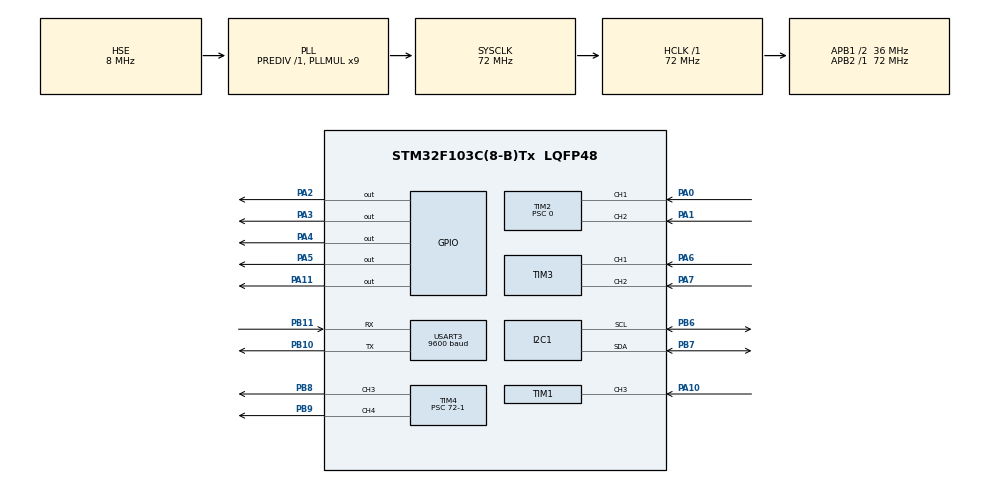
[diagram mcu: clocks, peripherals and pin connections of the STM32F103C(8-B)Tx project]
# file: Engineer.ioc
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Dma.Request0=USART3_RX
Dma.USART3_RX.0.Direction=DMA_PERIPH_TO_MEMORY
Dma.USART3_RX.0.Instance=DMA1_Channel3
Dma.USART3_RX.0.MemDataAlignment=DMA_MDATAALIGN_BYTE
Dma.USART3_RX.0.MemInc=DMA_MINC_ENABLE
Dma.USART3_RX.0.Mode=DMA_NORMAL
Dma.USART3_RX.0.PeriphDataAlignment=DMA_PDATAALIGN_BYTE
Dma.USART3_RX.0.PeriphInc=DMA_PINC_DISABLE
Dma.USART3_RX.0.Priority=DMA_PRIORITY_LOW
Mcu.Family=STM32F1
Mcu.Name=STM32F103C(8-B)Tx
Mcu.Package=LQFP48
NVIC.DMA1_Channel3_IRQn=true\:0\:0\:false\:false\:true\:false\:true\:true
NVIC.I2C1_ER_IRQn=true\:0\:0\:false\:false\:true\:true\:true\:true
NVIC.I2C1_EV_IRQn=true\:0\:0\:false\:false\:true\:true\:true\:true
NVIC.PriorityGroup=NVIC_PRIORITYGROUP_4
NVIC.TIM1_BRK_IRQn=true\:0\:0\:false\:false\:true\:true\:true\:true
NVIC.TIM1_CC_IRQn=true\:0\:0\:false\:false\:true\:true\:true\:true
NVIC.TIM1_TRG_COM_IRQn=true\:0\:0\:false\:false\:true\:true\:true\:true
NVIC.TIM1_UP_IRQn=true\:0\:0\:false\:false\:true\:true\:true\:true
NVIC.TIM2_IRQn=true\:0\:0\:false\:false\:true\:true\:true\:true
NVIC.TIM4_IRQn=true\:0\:0\:false\:false\:true\:true\:true\:true
NVIC.USART3_IRQn=true\:0\:0\:false\:false\:true\:true\:true\:true
PA0-WKUP.Signal=S_TIM2_CH1_ETR
PA1.Signal=S_TIM2_CH2
PA10.Signal=S_TIM1_CH3
PA11.Signal=GPIO_Output
PA13.Mode=Serial_Wire
PA13.Signal=SYS_JTMS-SWDIO
PA14.Mode=Serial_Wire
PA14.Signal=SYS_JTCK-SWCLK
PA2.Signal=GPIO_Output
PA3.Signal=GPIO_Output
PA4.Signal=GPIO_Output
PA5.Signal=GPIO_Output
PA6.Signal=S_TIM3_CH1
PA7.Signal=S_TIM3_CH2
PB10.Mode=Asynchronous
PB10.Signal=USART3_TX
PB11.Mode=Asynchronous
PB11.Signal=USART3_RX
PB6.Mode=I2C
PB6.Signal=I2C1_SCL
PB7.Mode=I2C
PB7.Signal=I2C1_SDA
PB8.Signal=S_TIM4_CH3
PB9.Signal=S_TIM4_CH4
PC14-OSC32_IN.Mode=LSE-External-Oscillator
PC14-OSC32_IN.Signal=RCC_OSC32_IN
PC15-OSC32_OUT.Mode=LSE-External-Oscillator
PC15-OSC32_OUT.Signal=RCC_OSC32_OUT
PD0-OSC_IN.Mode=HSE-External-Oscillator
PD0-OSC_IN.Signal=RCC_OSC_IN
PD1-OSC_OUT.Mode=HSE-External-Oscillator
PD1-OSC_OUT.Signal=RCC_OSC_OUT
ProjectManager.HeapSize=0x200
ProjectManager.StackSize=0x400
ProjectManager.TargetToolchain=MDK-ARM V5.32
RCC.AHBFreq_Value=72000000
RCC.APB1CLKDivider=RCC_HCLK_DIV2
RCC.APB1Freq_Value=36000000
RCC.APB1TimFreq_Value=72000000
RCC.APB2Freq_Value=72000000
RCC.APB2TimFreq_Value=72000000
RCC.HCLKFreq_Value=72000000
RCC.PLLMUL=RCC_PLL_MUL9
RCC.PLLSourceVirtual=RCC_PLLSOURCE_HSE
RCC.SYSCLKFreq_VALUE=72000000
RCC.SYSCLKSource=RCC_SYSCLKSOURCE_PLLCLK
RCC.USBFreq_Value=72000000
SH.S_TIM1_CH3.0=TIM1_CH3,Input_Capture3_from_TI3
SH.S_TIM2_CH1_ETR.0=TIM2_CH1,Encoder_Interface
SH.S_TIM2_CH2.0=TIM2_CH2,Encoder_Interface
SH.S_TIM3_CH1.0=TIM3_CH1,Encoder_Interface
SH.S_TIM3_CH2.0=TIM3_CH2,Encoder_Interface
SH.S_TIM4_CH3.0=TIM4_CH3,PWM Generation3 CH3
SH.S_TIM4_CH4.0=TIM4_CH4,PWM Generation4 CH4
TIM1.Channel-Input_Capture3_from_TI3=TIM_CHANNEL_3
TIM1.Period=65535
TIM1.Prescaler=72-1
TIM2.EncoderMode=TIM_ENCODERMODE_TI12
TIM2.IC1Filter=0
TIM2.IC2Filter=0
TIM2.IC2Polarity=TIM_ICPOLARITY_FALLING
TIM2.Period=65535
TIM2.Prescaler=0
TIM3.EncoderMode=TIM_ENCODERMODE_TI12
TIM3.IC2Polarity=TIM_ICPOLARITY_FALLING
TIM4.Channel-PWM\ Generation3\ CH3=TIM_CHANNEL_3
TIM4.Channel-PWM\ Generation4\ CH4=TIM_CHANNEL_4
TIM4.Period=1000-1
TIM4.Prescaler=72-1
USART3.BaudRate=9600
USART3.VirtualMode=VM_ASYNC
VP_TIM1_VS_ClockSourceINT.Mode=Internal
VP_TIM4_VS_ClockSourceINT.Mode=Internal
board=custom

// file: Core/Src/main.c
/* USER CODE BEGIN Header */
/**
  ******************************************************************************
  * @file           : main.c
  * @brief          : Main program body
  ******************************************************************************
  * @attention
  *
  * Copyright (c) 2025 STMicroelectronics.
  * All rights reserved.
  *
  * This software is licensed under terms that can be found in the LICENSE file
  * in the root directory of this software component.
  * If no LICENSE file comes with this software, it is provided AS-IS.
  *
  ******************************************************************************
  */
/* USER CODE END Header */
#include "main.h"
#include "dma.h"
#include "i2c.h"
#include "tim.h"
#include "usart.h"
#include "gpio.h"

/* USER CODE BEGIN Includes */
#include "User_Task.h"
/* USER CODE END Includes */

void SystemClock_Config(void);

/* USER CODE BEGIN 0 */
uint8_t echo_flag = 0;
uint16_t rising_cnt = 0, falling_cnt = 0;
float distance = 0.0f;

uint8_t pin11 = 0;

float Get_Distance_Main()
{
  return distance;
}

/* USER CODE END 0 */

int main(void)
{

  /* MCU Configuration--------------------------------------------------------*/

  /* Reset of all peripherals, Initializes the Flash interface and the Systick. */
  HAL_Init();

  /* Configure the system clock */
  SystemClock_Config();

  /* Initialize all configured peripherals */
  MX_GPIO_Init();
  MX_DMA_Init();
  MX_I2C1_Init();
  MX_TIM1_Init();
  MX_TIM2_Init();
  MX_TIM3_Init();
  MX_TIM4_Init();
  MX_USART3_UART_Init();
  /* USER CODE BEGIN 2 */
	Task_Init();
  /* USER CODE END 2 */

  /* Infinite loop */
  /* USER CODE BEGIN WHILE */
  while (1)
  {
		// 触发
    HAL_GPIO_WritePin(GPIOA, GPIO_PIN_11, 1);
    HAL_Delay(1);
		pin11 = HAL_GPIO_ReadPin(GPIOA, GPIO_PIN_11);
    HAL_GPIO_WritePin(GPIOA, GPIO_PIN_11, 0);
    pin11 = HAL_GPIO_ReadPin(GPIOA, GPIO_PIN_11);

    // 清零
    rising_cnt = 0;
    falling_cnt = 0;
    echo_flag = 0;
    __HAL_TIM_SET_COUNTER(&htim1, 0);

    // 开始捕获
    __HAL_TIM_SET_CAPTUREPOLARITY(&htim1, TIM_CHANNEL_3, TIM_INPUTCHANNELPOLARITY_RISING);
    HAL_TIM_IC_Start_IT(&htim1, TIM_CHANNEL_3);

    // 等待完成
    for (uint16_t i = 0; i < 150; i++)
    {
      if (rising_cnt != 0 && falling_cnt != 0)
      {
        // 计算距离
        // 定时器每1us计数1次，因此 距离=计数*0.34/2（毫米）
				distance = (falling_cnt - rising_cnt) * 0.017;
        break;
      }
      HAL_Delay(1);
    }
    // 停止捕获
    HAL_TIM_IC_Stop_IT(&htim1, TIM_CHANNEL_3);
    /* USER CODE END WHILE */

  }
}

void SystemClock_Config(void)
{
  RCC_OscInitTypeDef RCC_OscInitStruct = {0};
  RCC_ClkInitTypeDef RCC_ClkInitStruct = {0};

  /** Initializes the RCC Oscillators according to the specified parameters
  * in the RCC_OscInitTypeDef structure.
  */
  RCC_OscInitStruct.OscillatorType = RCC_OSCILLATORTYPE_HSE;
  RCC_OscInitStruct.HSEState = RCC_HSE_ON;
  RCC_OscInitStruct.HSEPredivValue = RCC_HSE_PREDIV_DIV1;
  RCC_OscInitStruct.HSIState = RCC_HSI_ON;
  RCC_OscInitStruct.PLL.PLLState = RCC_PLL_ON;
  RCC_OscInitStruct.PLL.PLLSource = RCC_PLLSOURCE_HSE;
  RCC_OscInitStruct.PLL.PLLMUL = RCC_PLL_MUL9;
  if (HAL_RCC_OscConfig(&RCC_OscInitStruct) != HAL_OK)
  {
    Error_Handler();
  }

  /** Initializes the CPU, AHB and APB buses clocks
  */
  RCC_ClkInitStruct.ClockType = RCC_CLOCKTYPE_HCLK|RCC_CLOCKTYPE_SYSCLK
                              |RCC_CLOCKTYPE_PCLK1|RCC_CLOCKTYPE_PCLK2;
  RCC_ClkInitStruct.SYSCLKSource = RCC_SYSCLKSOURCE_PLLCLK;
  RCC_ClkInitStruct.AHBCLKDivider = RCC_SYSCLK_DIV1;
  RCC_ClkInitStruct.APB1CLKDivider = RCC_HCLK_DIV2;
  RCC_ClkInitStruct.APB2CLKDivider = RCC_HCLK_DIV1;

  if (HAL_RCC_ClockConfig(&RCC_ClkInitStruct, FLASH_LATENCY_2) != HAL_OK)
  {
    Error_Handler();
  }
}

/* USER CODE BEGIN 4 */
void HAL_TIM_IC_CaptureCallback(TIM_HandleTypeDef *htim)
{
  if (htim == &htim1 && htim->Channel == HAL_TIM_ACTIVE_CHANNEL_3)
  {
    // 捕获到上升沿
    if (!echo_flag)
    {
      rising_cnt = HAL_TIM_ReadCapturedValue(htim, TIM_CHANNEL_3);
      echo_flag = 1;
      __HAL_TIM_SET_CAPTUREPOLARITY(htim, TIM_CHANNEL_3, TIM_INPUTCHANNELPOLARITY_FALLING);
    }
    // 捕获到下降沿
    else
    {
      falling_cnt = HAL_TIM_ReadCapturedValue(htim, TIM_CHANNEL_3);
      echo_flag = 0;
      __HAL_TIM_SET_CAPTUREPOLARITY(htim, TIM_CHANNEL_3, TIM_INPUTCHANNELPOLARITY_RISING);
    }
  }
}
/* USER CODE END 4 */

void Error_Handler(void)
{
  __disable_irq();
  while (1)
  {
  }
}
